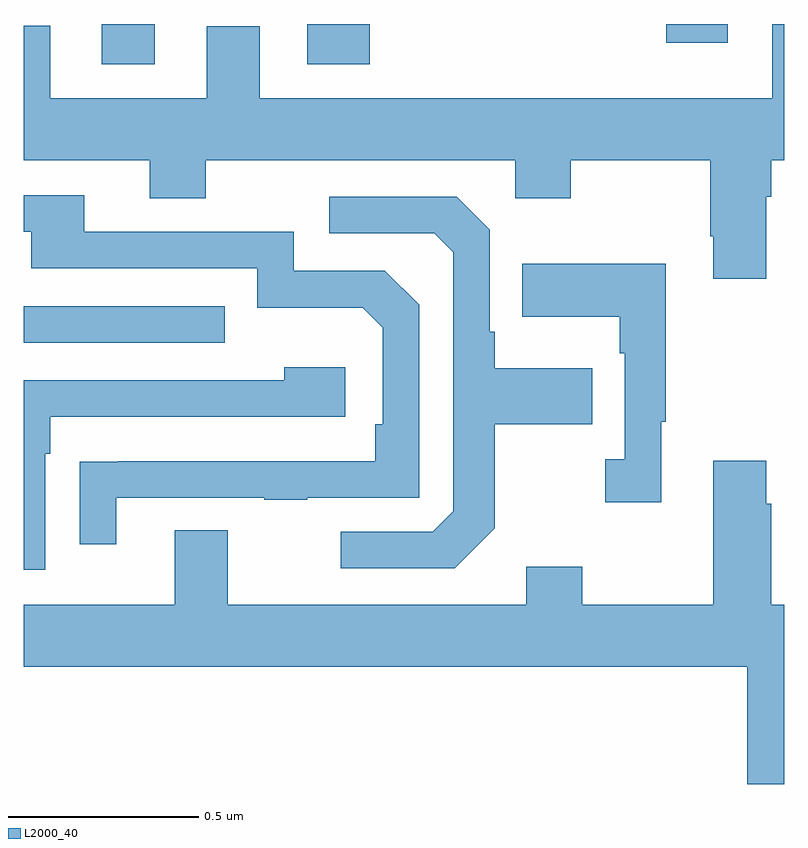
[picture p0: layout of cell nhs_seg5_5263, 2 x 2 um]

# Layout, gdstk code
import gdstk
lib = gdstk.Library(unit=1e-6, precision=1e-09)
def R(c, l, rs):  # rectangles x0, y0, x1, y1
    for r in rs: c.add(gdstk.rectangle(r[:2], r[2:], *l))
def P(c, l, *ps):  # polygons
    for p in ps: c.add(gdstk.Polygon(p, *l))
L2000_40 = (2000, 40)

nhs_seg5_5263 = lib.new_cell('nhs_seg5_5263')
R(nhs_seg5_5263, L2000_40, [(181,842.961,181.529,843.057), (181.205,843.693,181.345,843.799), (181.745,843.693,181.91,843.799), (182.69,843.75,182.851,843.799)])
P(nhs_seg5_5263, L2000_40, [(182.953,843.344),(182.966,843.344),(182.966,843.44),(183,843.44),(183,843.799),(182.969,843.799),(182.969,843.604),(181.621,843.604),(181.621,843.793),(181.481,843.793),(181.481,843.604),(181.069,843.604),(181.069,843.794),(181,843.794),(181,843.44),(181.331,843.44),(181.331,843.341),(181.479,843.341),(181.479,843.44),(182.292,843.44),(182.292,843.341),(182.439,843.341),(182.439,843.44),(182.806,843.44),(182.806,843.241),(182.813,843.241),(182.813,843.129),(182.953,843.129)],
  [(181.243,842.553),(181.633,842.553),(181.633,842.548),(181.745,842.548),(181.745,842.553),(182.04,842.553),(182.04,843.06),(181.95,843.15),(181.71,843.15),(181.71,843.252),(181.159,843.252),(181.159,843.348),(181,843.348),(181,843.252),(181.019,843.252),(181.019,843.156),(181.614,843.156),(181.614,843.053),(181.891,843.053),(181.944,843),(181.944,842.746),(181.924,842.746),(181.924,842.649),(181.249,842.649),(181.249,842.648),(181.147,842.648),(181.147,842.43),(181.243,842.43)],
  [(182.239,842.473),(182.239,842.746),(182.495,842.746),(182.495,842.893),(182.239,842.893),(182.239,842.989),(182.226,842.989),(182.226,843.258),(182.139,843.345),(181.803,843.345),(181.803,843.249),(182.079,843.249),(182.13,843.198),(182.13,842.517),(182.076,842.463),(181.833,842.463),(181.833,842.367),(182.133,842.367)],
  [(182.677,842.753),(182.689,842.753),(182.689,843.169),(182.311,843.169),(182.311,843.029),(182.568,843.029),(182.568,842.933),(182.58,842.933),(182.58,842.654),(182.529,842.654),(182.529,842.541),(182.677,842.541)],
  [(181.056,842.669),(181.069,842.669),(181.069,842.766),(181.846,842.766),(181.846,842.896),(181.685,842.896),(181.685,842.862),(181,842.862),(181,842.364),(181.056,842.364)],
  [(183,842.272),(182.966,842.272),(182.966,842.537),(182.953,842.537),(182.953,842.65),(182.813,842.65),(182.813,842.272),(182.469,842.272),(182.469,842.371),(182.321,842.371),(182.321,842.272),(181.537,842.272),(181.537,842.467),(181.397,842.467),(181.397,842.272),(181,842.272),(181,842.108),(182.903,842.108),(182.903,841.8),(183,841.8)])

lib.write_gds('nhs_seg5_5263.gds')
